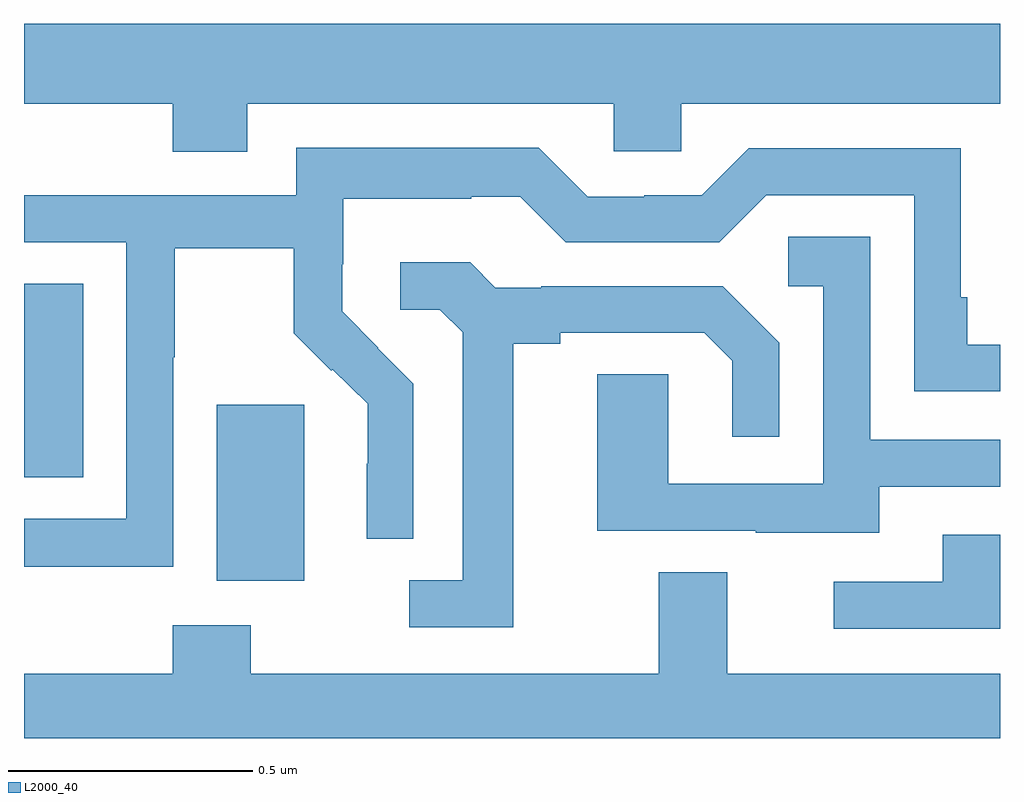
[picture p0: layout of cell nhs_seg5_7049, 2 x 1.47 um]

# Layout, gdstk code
import gdstk
lib = gdstk.Library(unit=1e-6, precision=1e-09)
def R(c, l, rs):  # rectangles x0, y0, x1, y1
    for r in rs: c.add(gdstk.rectangle(r[:2], r[2:], *l))
def P(c, l, *ps):  # polygons
    for p in ps: c.add(gdstk.Polygon(p, *l))
L2000_40 = (2000, 40)

nhs_seg5_7049 = lib.new_cell('nhs_seg5_7049')
R(nhs_seg5_7049, L2000_40, [(204.395,849.122,204.574,849.483), (204,849.334,204.121,849.731)])
P(nhs_seg5_7049, L2000_40, [(204.457,850.1),(205.209,850.1),(205.209,850.002),(205.347,850.002),(205.347,850.1),(206,850.1),(206,850.264),(204,850.264),(204,850.1),(204.305,850.1),(204.305,850.001),(204.457,850.001)],
  [(204.306,849.58),(204.309,849.58),(204.309,849.804),(204.553,849.804),(204.553,849.629),(204.63,849.552),(204.633,849.555),(204.704,849.485),(204.704,849.362),(204.702,849.362),(204.702,849.208),(204.798,849.208),(204.798,849.526),(204.725,849.599),(204.726,849.6),(204.652,849.674),(204.652,849.771),(204.654,849.771),(204.654,849.905),(204.917,849.905),(204.917,849.909),(205.017,849.909),(205.11,849.816),(205.425,849.816),(205.521,849.912),(205.824,849.912),(205.824,849.51),(206,849.51),(206,849.606),(205.933,849.606),(205.933,849.703),(205.92,849.703),(205.92,850.008),(205.485,850.008),(205.389,849.912),(205.271,849.912),(205.271,849.909),(205.155,849.909),(205.055,850.009),(204.558,850.009),(204.558,849.912),(204,849.912),(204,849.816),(204.21,849.816),(204.21,849.249),(204,849.249),(204,849.151),(204.306,849.151)],
  [(205.753,849.315),(206,849.315),(206,849.411),(205.734,849.411),(205.734,849.827),(205.566,849.827),(205.566,849.726),(205.638,849.726),(205.638,849.321),(205.32,849.321),(205.32,849.545),(205.175,849.545),(205.175,849.225),(205.499,849.225),(205.499,849.221),(205.753,849.221)],
  [(205.003,849.608),(205.099,849.608),(205.099,849.63),(205.394,849.63),(205.451,849.573),(205.451,849.417),(205.548,849.417),(205.548,849.61),(205.432,849.726),(205.06,849.726),(205.06,849.723),(204.966,849.723),(204.914,849.775),(204.771,849.775),(204.771,849.678),(204.852,849.678),(204.899,849.631),(204.899,849.123),(204.789,849.123),(204.789,849.027),(205.003,849.027)],
  [(206,849.216),(205.883,849.216),(205.883,849.12),(205.659,849.12),(205.659,849.024),(206,849.024)],
  [(206,848.932),(205.441,848.932),(205.441,849.14),(205.301,849.14),(205.301,848.932),(204.465,848.932),(204.465,849.031),(204.305,849.031),(204.305,848.932),(204,848.932),(204,848.799),(206,848.799)])

lib.write_gds('nhs_seg5_7049.gds')
